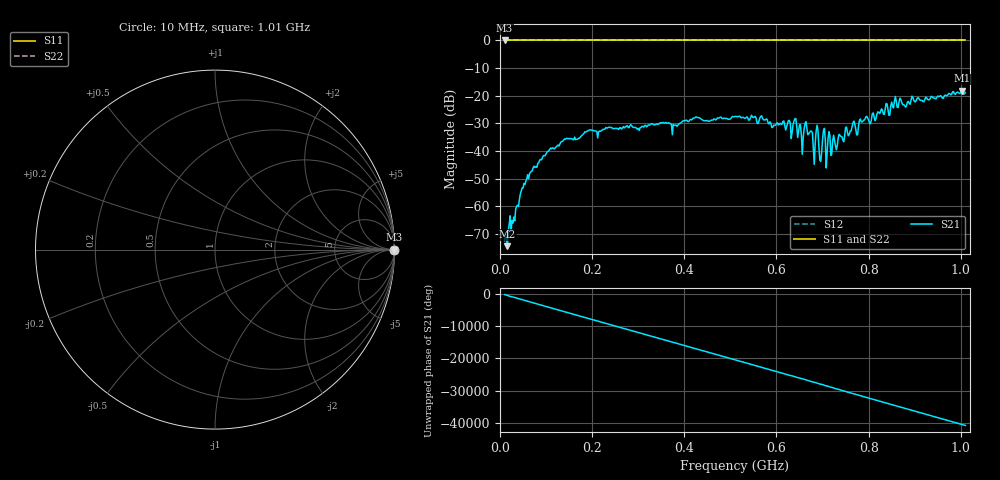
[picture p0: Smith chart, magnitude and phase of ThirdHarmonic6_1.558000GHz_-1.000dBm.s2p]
! 8/16/2025 6:30:32 PM
! C:\ANRITSUVNA\TEMP\TEMP.S2P
! CHANNEL.1
! TR.MEASUREMENT
! RAW.DATA
! RF.CORRECTION.OFF
! AVERAGING.OFF
! IF.BANDWIDTH: 5KHZ
! SWEEPTYPE:  FREQ.SWEEP(Linear)
! Reference Plane Port Info
! PORT:  PORT1  PORT2
! DISTANCE:  0  m  0  m
! TIME:  0  s  0  s
! PHASE.OFFSET:  0  deg.  0  deg.
! LOSS:  0  dB  0  dB
! REF.LOSS:  0  dB  0  dB
! REF.FREQ:  0  Hz  0  Hz
! Power Info
! POWER:  -20  dBm  -20  dBm
! EFF.POWER:  -20  dBm  -20  dBm
! SOURCE.ATTEN:  0  dB  0  dB
! TEST.ATTEN:  0  dB  0  dB
# GHZ S RI R 50.0
! FREQ.GHZ  S11RE  S11IM  S21RE  S21IM  S12RE  S12IM  S22RE  S22IM
!; PortSelection: Port_12
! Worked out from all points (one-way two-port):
!   501 points, 10 MHz to 1.01 GHz, reference 50 ohm
!   highest |S21| = -18.21 dB at 1.002 GHz (marker M1); lowest = -74.5 dB at 16 MHz (marker M2)
!   lowest |S11| = 0.0 dB at 10 MHz (marker M3)
!   |S11| at or under -10 dB: nowhere
!   |S22| runs from 0.0 to 0.0 dB; largest |S21 - S12| = 1.1
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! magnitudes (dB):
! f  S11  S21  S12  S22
! 10 MHz  0.0  -72.5  0.0  0.0
! 16 MHz  0.0  -74.5  0.0  0.0
! 48 MHz  0.0  -53.4  0.0  0.0
! 70 MHz  0.0  -47.1  0.0  0.0
! 110 MHz  0.0  -38.9  0.0  0.0
! 178 MHz  0.0  -34.3  0.0  0.0
! 344 MHz  0.0  -30.3  0.0  0.0
! 510 MHz  0.0  -27.5  0.0  0.0
! 634 MHz  0.0  -33.2  0.0  0.0
! 640 MHz  0.0  -28.4  0.0  0.0
! 656 MHz  0.0  -41.2  0.0  0.0
! 664 MHz  0.0  -29.4  0.0  0.0
! 674 MHz  0.0  -32.8  0.0  0.0
! 678 MHz  0.0  -33.3  0.0  0.0
! 688 MHz  0.0  -30.7  0.0  0.0
! 696 MHz  0.0  -43.8  0.0  0.0
! 702 MHz  0.0  -32.6  0.0  0.0
! 730 MHz  0.0  -39.6  0.0  0.0
! 766 MHz  0.0  -29.8  0.0  0.0
! 844 MHz  0.0  -27.1  0.0  0.0
! 1.002 GHz  0.0  -18.2  0.0  0.0
! 1.01 GHz  0.0  -18.9  0.0  0.0
